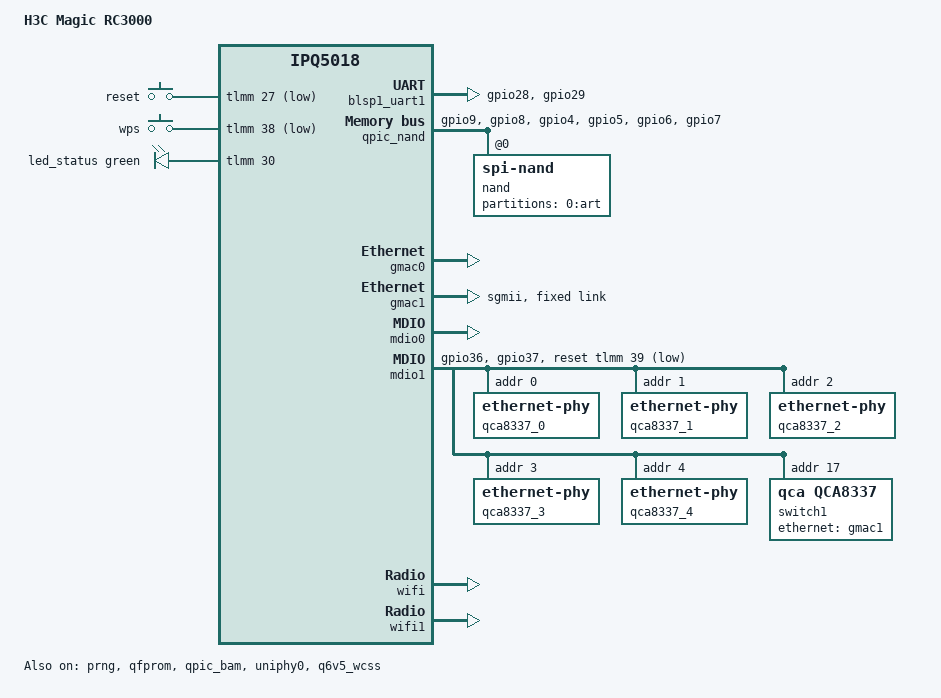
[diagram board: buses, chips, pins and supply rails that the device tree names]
// SPDX-License-Identifier: GPL-2.0-or-later OR MIT
//
// H3C Magic RC3000 (中国电信定制版) —— 交换机变体: QCA8337
//
// 硬件: IPQ5018 / IPQ5000 双核 A53 @1.0GHz, 256MB DDR3, 128MB SPI-NAND
//       2.4G 集成于 SoC, 5G 为 PCIe 上的 QCN6102 (= qcn6122 兼容)
//       4 个千兆口经外挂 QCA8337
//
// 参照上游 CMCC MR3000D-CI (同为 IPQ5018 + QCN6102 + QCA8337 + SPI-NAND)。
// 由 tools/hwinfo2dts.py 依据本机 hwinfo.json 生成。
//
// ⚠ 三项必须实测确认, 见文件内 [VERIFY] 标记:
//    1. 按键 / LED 的 GPIO 编号
//    2. 交换机型号 (本文件是 QCA8337; 若你的板子是 RTL8367S 请用
//       ipq5018-h3c-rc3000-rtl8367s.dts)
//    3. qcom,bdf-addr 无线校准数据地址

/dts-v1/;

#include "ipq5018.dtsi"
#include "ipq5018-ess.dtsi"
#include "ipq5018-qcn6122.dtsi"

#include <dt-bindings/gpio/gpio.h>
#include <dt-bindings/input/input.h>
#include <dt-bindings/leds/common.h>

/ {
	model = "H3C Magic RC3000";
	compatible = "h3c,rc3000", "qcom,ipq5018";

	aliases {
		label-mac-device = <&gmac1>;

		led-boot = &led_status;
		led-failsafe = &led_status;
		led-running = &led_status;
		led-upgrade = &led_status;

		serial0 = &blsp1_uart1;
	};

	chosen {
		bootargs-append = " root=/dev/ubiblock0_1 swiotlb=1 coherent_pool=2M";
		stdout-path = "serial0:115200n8";
	};

	keys {
		compatible = "gpio-keys";
		pinctrl-0 = <&button_pins>;
		pinctrl-names = "default";

		// [VERIFY] RC3000 面板有 Reset 键 + 功能键(mesh/无线优化)。
		// 这里的 GPIO 取自同平台参照板，必须对照原厂固件实测:
		//   cat /sys/kernel/debug/gpio   或   dmesg | grep -i gpio
		// 若按键不生效，不影响启动，只影响按键功能。
		button-reset {
			label = "reset";
			gpios = <&tlmm 27 GPIO_ACTIVE_LOW>;
			linux,code = <KEY_RESTART>;
		};

		button-wps {
			label = "wps";
			gpios = <&tlmm 38 GPIO_ACTIVE_LOW>;
			linux,code = <KEY_WPS_BUTTON>;
		};
	};

	leds {
		compatible = "gpio-leds";
		pinctrl-0 = <&led_pins>;
		pinctrl-names = "default";

		// [VERIFY] RC3000 只有 1 个正面系统状态 LED，GPIO 待实测。
		led_status: led-0 {
			gpios = <&tlmm 30 GPIO_ACTIVE_HIGH>;
			color = <LED_COLOR_ID_GREEN>;
			function = LED_FUNCTION_STATUS;
		};
	};
};

&sleep_clk {
	clock-frequency = <32000>;
};

&xo_board_clk {
	clock-div = <4>;
	clock-mult = <1>;
};

&blsp1_uart1 {
	status = "okay";

	pinctrl-0 = <&serial_0_pins>;
	pinctrl-names = "default";
};

&prng {
	status = "okay";
};

&qfprom {
	status = "okay";
};

&qpic_bam {
	status = "okay";
};

&qpic_nand {
	pinctrl-0 = <&qpic_pins>;
	pinctrl-names = "default";
	status = "okay";

	nand@0 {
		compatible = "spi-nand";
		reg = <0>;

		nand-ecc-engine = <&qpic_nand>;
		nand-ecc-step-size = <512>;
		nand-ecc-strength = <8>;
		nand-bus-width = <8>;

		// RC3000 的分区表由 bootloader 写入 SMEM，内核直接读 SMEM，
		// 因此这里不需要手写 offset。若你的板子 smem 表不可用，
		// 改用 fixed-partitions 并把 collect.sh 采集到的 /proc/mtd 抄进来。
		partitions {
			compatible = "qcom,smem-part";

			partition-art {
				label = "0:art";
				read-only;

				nvmem-layout {
					compatible = "fixed-layout";
					#address-cells = <1>;
					#size-cells = <1>;

					// WAN MAC
					macaddr_art_0: mac-address@0 {
						compatible = "mac-base";
						reg = <0x0 0x6>;
						#nvmem-cell-cells = <1>;
					};

					// LAN MAC
					macaddr_art_6: mac-address@6 {
						compatible = "mac-base";
						reg = <0x6 0x6>;
						#nvmem-cell-cells = <1>;
					};

					// WLAN 2.4 GHz MAC
					macaddr_art_c: mac-address@c {
						compatible = "mac-base";
						reg = <0xc 0x6>;
						#nvmem-cell-cells = <1>;
					};

					// WLAN 5 GHz MAC
					macaddr_art_12: mac-address@12 {
						compatible = "mac-base";
						reg = <0x12 0x6>;
						#nvmem-cell-cells = <1>;
					};
				};
			};
		};
	};
};

/*
 * ===============================================================
 *     _______________________         _______________________
 *    |        IPQ5018        |       |        QCA8337        |
 *    | +------+   +--------+ |       | +--------+   +------+ |
 *    | | MAC0 |---| GE Phy | |       | |  Phy0  |---| MAC1 | |
 *    | +------+   +--------+ |       | +--------+   +------+ |
 *    | +------+   +--------+ |       | +--------+   +------+ |
 *    | | MAC1 |---| Uniphy |-+-SGMII-+-| SerDes |---| MAC6 | |
 *    | +------+   +--------+ |       | +--------+   +------+ |
 *    |_______________________|       |_______________________|
 * ===============================================================
 */

&uniphy0 {
	status = "okay";

	assigned-clocks = <&uniphy0 UNIPHY_CLK_REF>;
	assigned-clock-rates = <UNIPHY_REFCLK_25MHZ>;
};

// MAC0 -> 内部 GE Phy
&gmac0 {
	status = "okay";

	nvmem-cell-names = "mac-address";
	nvmem-cells = <&macaddr_art_0 (0)>;
};

// MAC1 -> SGMII -> QCA8337
&gmac1 {
	status = "okay";

	phy-mode = "sgmii";

	nvmem-cell-names = "mac-address";
	nvmem-cells = <&macaddr_art_6 (0)>;

	fixed-link {
		speed = <1000>;
		full-duplex;
	};
};

&mdio0 {
	status = "okay";
};

&ge_phy {
	qcom,dac-preset-short-cable;
};

&mdio1 {
	status = "okay";

	pinctrl-0 = <&mdio1_pins>;
	pinctrl-names = "default";
	reset-gpios = <&tlmm 39 GPIO_ACTIVE_LOW>;

	qca8337_0: ethernet-phy@0 {
		reg = <0>;
	};

	qca8337_1: ethernet-phy@1 {
		reg = <1>;
	};

	qca8337_2: ethernet-phy@2 {
		reg = <2>;
	};

	qca8337_3: ethernet-phy@3 {
		reg = <3>;
	};

	qca8337_4: ethernet-phy@4 {
		reg = <4>;
	};

	switch1: ethernet-switch@17 {
		compatible = "qca,qca8337";
		reg = <17>;
		#address-cells = <1>;
		#size-cells = <0>;

		ethernet-ports {
			#address-cells = <1>;
			#size-cells = <0>;

			ethernet-port@1 {
				reg = <1>;
				label = "lan3";
				phy-handle = <&qca8337_0>;
			};

			ethernet-port@2 {
				reg = <2>;
				label = "lan2";
				phy-handle = <&qca8337_1>;
			};

			ethernet-port@3 {
				reg = <3>;
				label = "lan1";
				phy-handle = <&qca8337_2>;
			};

			ethernet-port@4 {
				reg = <4>;
				label = "wan";
				phy-handle = <&qca8337_3>;

				nvmem-cells = <&macaddr_art_0 (0)>;
				nvmem-cell-names = "mac-address";
			};

			ethernet-port@6 {
				reg = <6>;
				phy-mode = "sgmii";
				ethernet = <&gmac1>;
				qca,sgmii-enable-pll;

				fixed-link {
					speed = <1000>;
					full-duplex;
				};
			};
		};
	};
};

&tlmm {
	button_pins: button-state {
		button-pins {
			pins = "gpio27", "gpio38";
			function = "gpio";
			drive-strength = <8>;
			bias-pull-up;
		};
	};

	led_pins: led-state {
		pins = "gpio30";
		function = "gpio";
		drive-strength = <8>;
		bias-pull-down;
	};

	mdio1_pins: mdio-state {
		mdc-pins {
			pins = "gpio36";
			function = "mdc";
			drive-strength = <8>;
			bias-pull-up;
		};

		mdio-pins {
			pins = "gpio37";
			function = "mdio";
			drive-strength = <8>;
			bias-pull-up;
		};
	};

	qpic_pins: qpic-state {
		clock-pins {
			pins = "gpio9";
			function = "qspi_clk";
			drive-strength = <8>;
			bias-disable;
		};

		cs-pins {
			pins = "gpio8";
			function = "qspi_cs";
			drive-strength = <8>;
			bias-disable;
		};

		data-pins {
			pins = "gpio4", "gpio5", "gpio6", "gpio7";
			function = "qspi_data";
			drive-strength = <8>;
			bias-disable;
		};
	};

	serial_0_pins: uart0-state {
		pins = "gpio28", "gpio29";
		function = "blsp0_uart1";
		drive-strength = <8>;
		bias-disable;
	};

	switch_reset_pins: switch-reset-state {
		pins = "gpio39";
		function = "gpio";
		drive-strength = <8>;
		bias-pull-down;
	};
};

&q6v5_wcss {
	status = "okay";

	/* QCN6102 挂在 UPD ID 2。不指定 boot-args 时固件默认找 UPD ID 3 */
	boot-args = <
		/*       type:	*/	0x1	/* PCIE0	*/
		/*     length:	*/	4
		/*     UPD ID:	*/	2
		/* reset GPIO:	*/	15
		/*   reserved:	*/	0 0>;
};

&wifi {
	// IPQ5018 集成 2.4G
	status = "okay";

	qcom,rproc = <&q6_wcss_pd1>;
	qcom,ath11k-calibration-variant = "H3C-RC3000";
	qcom,ath11k-fw-memory-mode = <1>;
	// [VERIFY] 校准数据在预留内存的偏移，先用同平台值；
	// 若 2.4G 起不来，在原厂固件的 dmesg 里搜 bdf / ath11k 确认。
	qcom,bdf-addr = <0x4c400000>;
};

&wifi1 {
	// QCN6102 5G
	status = "okay";

	qcom,rproc = <&q6_wcss_pd2>;
	qcom,userpd-subsys-name = "q6v5_wcss_userpd2";
	qcom,ath11k-calibration-variant = "H3C-RC3000";
	qcom,ath11k-fw-memory-mode = <1>;
	qcom,bdf-addr = <0x4d100000>;
	qcom,m3-dump-addr = <0x4df00000>;
};
